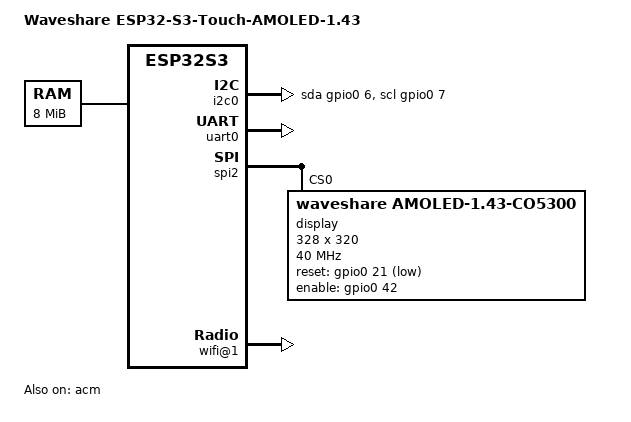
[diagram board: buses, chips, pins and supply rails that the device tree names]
// SPDX-License-Identifier: GPL-2.0-or-later
/*
 * Waveshare ESP32-S3-Touch-AMOLED-1.43: ESP32-S3R8, 16 MB flash, 8 MB PSRAM,
 * 1.43" 466x466 AMOLED (CO5300 or SH8601) on a Quad-SPI bus.
 *
 * Same system as esp32s3-devkit-c1.dts, plus the display on SPI2. The panel's
 * pins are not the ones SPI2 has in the IO MUX (CS0 10, CLK 12, D 11, Q 13,
 * WP 14, HD 9), so every line is routed through the GPIO matrix instead:
 *
 *	GPIO9  CS	FSPICS0
 *	GPIO10 CLK	FSPICLK
 *	GPIO11 D0	FSPID
 *	GPIO12 D1	FSPIQ
 *	GPIO13 D2	FSPIWP
 *	GPIO14 D3	FSPIHD
 *	GPIO21 panel reset (active low)
 *	GPIO42 panel power enable
 */
/dts-v1/;
#include <dt-bindings/gpio/gpio.h>
#include <dt-bindings/interrupt-controller/irq.h>
#include "gpio-esp32.h"
#include "esp32s3.dtsi"

/* GPIO matrix signal numbers, ESP32-S3 TRM table 6-2 (soc/gpio_sig_map.h) */
#define SIG_FSPICLK	101
#define SIG_FSPIQ	102
#define SIG_FSPID	103
#define SIG_FSPIHD	104
#define SIG_FSPIWP	105
#define SIG_FSPICS0	110

/ {
	model = "Waveshare ESP32-S3-Touch-AMOLED-1.43";

	/* tty0 first: the kernel log also goes to the display. /dev/console
	 * stays on the last console= entry, ttyS0, as before. fbcon would pick the
	 * 8x8 font for a framebuffer shorter than 400 rows, so ask for the 8x16 one. */
	chosen {
		bootargs = "earlycon=esp32s3uart,mmio32,0x60000000,115200n8,40000000 console=tty0 console=ttyGS3 console=ttyS0,115200n8 quiet fbcon=font:VGA8x16 rw root=mtd:rootfs rootfstype=cramfs panic=10 panic_console_replay ";
	};

	memory@0 {
		device_type = "memory";
		reg = <0x3d800000 0x00800000>;
	};

	i2c0 {
		#address-cells = <1>;
		#size-cells = <0>;
		compatible = "i2c-gpio";

		sda-gpios = <&gpio0 6 (GPIO_ACTIVE_HIGH | GPIO_OPEN_DRAIN)>;
		scl-gpios = <&gpio0 7 (GPIO_ACTIVE_HIGH | GPIO_OPEN_DRAIN)>;

		pinctrl-0 = <&i2c0_pins>;
		pinctrl-names = "default";
	};
};

&iomux {
	status = "ok";

	i2c0_pins: i2c0_pins {
		pinctrl-single,pins = <
			PIN(6) FUN0_20MA_IE_WPU			/* SDA */
			PIN(7) FUN0_20MA_IE_WPU>;		/* SCL */
	};
	/* IO MUX function 1 is plain GPIO: the pads follow the GPIO matrix. */
	spi2_pins: spi2_pins {
		pinctrl-single,pins = <
			PIN(9)  (FUN_SEL(1) | FUN_DRV_20MA)	/* CS */
			PIN(10) (FUN_SEL(1) | FUN_DRV_40MA)	/* CLK */
			PIN(11) (FUN_SEL(1) | FUN_DRV_40MA)	/* D0 */
			PIN(12) (FUN_SEL(1) | FUN_DRV_40MA)	/* D1 */
			PIN(13) (FUN_SEL(1) | FUN_DRV_40MA)	/* D2 */
			PIN(14) (FUN_SEL(1) | FUN_DRV_40MA)>;	/* D3 */
	};
	/*
	 * Plain GPIOs of the panel. The gpio driver does not touch the IO MUX,
	 * and GPIO42 comes out of reset as the JTAG pin MTMS, so say it here.
	 */
	panel_pins: panel_pins {
		pinctrl-single,pins = <
			PIN(21) (FUN_SEL(1) | FUN_DRV_20MA)	/* reset */
			PIN(42) (FUN_SEL(1) | FUN_DRV_20MA)>;	/* power enable */
	};
	uart0_pins: uart0_pins {
		pinctrl-single,pins = <
			PIN(43) FUN0_20MA			/* U0TXD */
			PIN(44) FUN0_20MA_IE_WPU>;		/* U0RXD */
	};
};

/* Output side of the matrix: which peripheral signal drives which pad. The
 * output enable stays with the peripheral (OEN_SEL = 0). */
&gpio_out_mux {
	status = "ok";

	spi2_out: spi2_out {
		pinctrl-single,pins = <
			GPIO_FUNC_OUT_SEL(9)  SIG_FSPICS0
			GPIO_FUNC_OUT_SEL(10) SIG_FSPICLK
			GPIO_FUNC_OUT_SEL(11) SIG_FSPID
			GPIO_FUNC_OUT_SEL(12) SIG_FSPIQ
			GPIO_FUNC_OUT_SEL(13) SIG_FSPIWP
			GPIO_FUNC_OUT_SEL(14) SIG_FSPIHD>;
	};
};

&gpio0 {
	status = "ok";
};

&uart0 {
	pinctrl-0 = <&uart0_pins>;
	pinctrl-names = "default";
	status = "ok";
};

&spi2 {
	pinctrl-0 = <&spi2_pins>, <&spi2_out>;
	pinctrl-names = "default";
	status = "ok";

	/* Use waveshare,amoled-1.43-sh8601 on units whose panel ID reads 0x86. */
	display@0 {
		compatible = "waveshare,amoled-1.43-co5300";
		reg = <0>;
		spi-max-frequency = <40000000>;
		spi-tx-bus-width = <4>;
		pinctrl-0 = <&panel_pins>;
		pinctrl-names = "default";
		reset-gpios = <&gpio0 21 GPIO_ACTIVE_LOW>;
		enable-gpios = <&gpio0 42 GPIO_ACTIVE_HIGH>;

		/*
		 * The glass is round, so a console in the corners of the 466x466 square
		 * would be cut off. Use the biggest 8x16-font console that fits inside the
		 * circle (41x20 characters, corner distance 229 px < radius 233 px), centred.
		 * x-offset is the panel column of the first pixel: 68 visible columns in,
		 * plus the 6 columns the CO5300 keeps hidden. y-offset is 72 rows in.
		 * For the whole square use width = height = 466, x-offset = 6, y-offset = 0.
		 */
		width = <328>;
		height = <320>;
		x-offset = <74>;
		y-offset = <72>;
	};
};

&acm {
	status = "ok";
};

&ipc {
	wifi@1 {
		compatible = "esp,esp32-wifi-shmem";
		reg = <1>;
	};
};

&intc {
	reg = <0x600c2800 0x800>;
};
